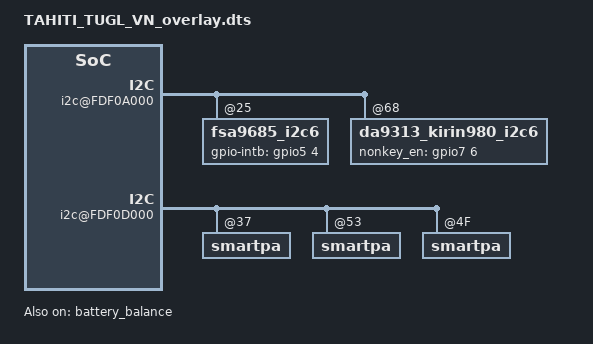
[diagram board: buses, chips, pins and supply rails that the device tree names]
/**
 * Copyright (C) 2014 Hisilicon Ltd.
 *
 *  This program is free software; you can redistribute it and/or modify
 *  it under the terms of the GNU General Public License version 2 as
 *  publishhed by the Free Software Foundation.
 */

/dts-v1/;
/plugin/;
/include/ "TAHITI_TUGL_VB_overlay.dtsi"
/include/ "TAHITI_TUGL_VN_pin.dtsi"
/include/ "TAHITI_TUGL_VN_modem_pin.dtsi"

/ {
    board_id = <8531>;
};
	&rootparam{
		compatible = "hisilicon,vendor";
		hisi,boardid = <8 5 3 1>;
		hisi,boardname = "TAHITI_TUGL_VN";
		hisi,modem_id = <0x37030800>;
		hisi,product_id = <0x37030800>;
		hisi,product_name = "TAH-AL00";
	};

	&ltc7820 {
		gpio_en = <&gpio4 5 0>;
		gpio_freq = <&gpio29 0 0>;
	};

	&direct_charge_ps {
		bst_ctrl = <&gpio6 6 0>;
	};

	&amba {
		i2c@FDF0A000 {
			fsa9685_i2c6@25 {
				fairchild_fsa9685,gpio-intb = <&gpio5 4 0>;
			};

			da9313_kirin980_i2c6@68 {
				gpio_nonkey_en = <&gpio7 6 0>;
				support_pwrdown_mode = <1>;
			};
		};

		i2c@FDF0D000 {
			smartpa@37{
				hw_reset {
					gpio_reset = <170>;
				};
				irq_handler {
					gpio_irq = <36>;
				};
			};

			smartpa@53{
				hw_reset {
					gpio_reset = <170>;
				};
				irq_handler {
					gpio_irq = <36>;
				};
			};

			smartpa@4F{
				hw_reset {
					gpio_reset = <170>;
				};
				irq_handler {
					gpio_irq = <36>;
				};
			};
		};
	};
	&sensorhub{
		gsensor{
			acc1{
				axis_map_x =<0>;
				axis_map_y =<1>;
				axis_map_z =<2>;
				negate_x =<0>;
				negate_y =<0>;
				negate_z =<0>;
			};
			acc2{
				axis_map_x =<0>;
				axis_map_y =<1>;
				axis_map_z =<2>;
				negate_x =<0>;
				negate_y =<0>;
				negate_z =<0>;
			};
		};

		gyroscope{
			gyro1{
				position = <4>;
				axis_map_x =<0>;
				axis_map_y =<1>;
				axis_map_z =<2>;
				negate_x =<0>;
				negate_y =<0>;
				negate_z =<0>;
			};
			gyro2{
				position = <4>;
				axis_map_x =<0>;
				axis_map_y =<1>;
				axis_map_z =<2>;
				negate_x =<0>;
				negate_y =<0>;
				negate_z =<0>;
			};
		};

		compass{
			mag1 {
				axis_map_x=<1>;
				axis_map_y=<0>;
				axis_map_z=<2>;
				negate_x=<0>;
				negate_y=<1>;
				negate_z=<0>;
			};
			mag2 {
				axis_map_x=<0>;
				axis_map_y=<1>;
				axis_map_z=<2>;
				negate_x=<1>;
				negate_y=<0>;
				negate_z=<1>;
			};
			mag3{
				axis_map_x=<0>;
				axis_map_y=<1>;
				axis_map_z=<2>;
				negate_x=<1>;
				negate_y=<0>;
				negate_z=<1>;
			};
		};

		sar {
			sar1 {
				status = "ok";
			};
		};
	};
	&hall {
		huawei,hall_0{
			huawei,single-n-pole = <&gpio6 1 0>;/*49*/
		};
		huawei,hall_1{
			huawei,single-n-pole = <&gpio6 2 0>;/*50*/
		};
	};
	&sensorhub_ext_config {
		cap_sensor_id = "65541 65572";// cap:65541:65541=0x10005; cap1:65572:65572=0x10024
	};
	&fingerprint {
		fingerprint,power_en_gpio = <55>;
	};
	/*hisi power*/
	&hi110x {
		hi110x,gpio_power_on = <&gpio7 5 0>;                /*GPIO_61*/
	};
	/*hisi customize*/
	&hisi_cust_cfg {
		ini_file_name = "/vendor/etc/cfg_tahiti_tugl_v1_nx.ini";
	};
	&battery_balance {
		status = "ok";
		gpio_bat1_balance_en = <&gpio6 3 0>;
		gpio_bat0_balance_en = <&gpio4 6 0>;
	};

	&kirin_pcie_rc {
		/* connected device: 0x1-BCM, 0x2-hi110x, 0x3-NVMe, 0x4-Modem, ... */
		ep_device_type = <0x4>;
	};
